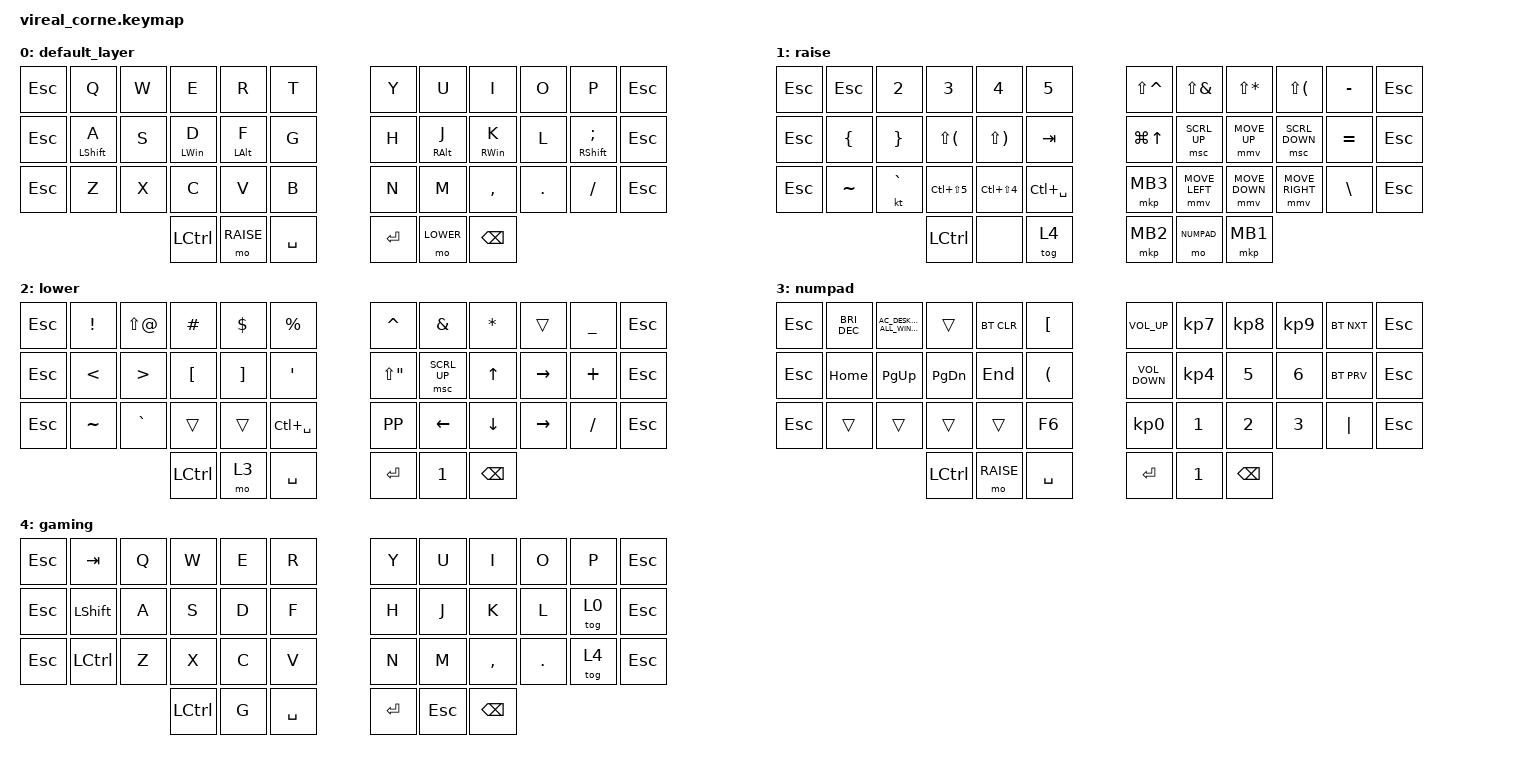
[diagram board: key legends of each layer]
#define ZMK_POINTING_DEFAULT_MOVE_VAL 600  // default: 600
#define ZMK_POINTING_DEFAULT_SCRL_VAL 10    // default: 10

#include <behaviors.dtsi>
#include <dt-bindings/zmk/bt.h>
#include <dt-bindings/zmk/keys.h>
#include <dt-bindings/zmk/pointing.h>

#define DEFAULT 0
#define RAISE   1
#define LOWER   2
#define NUMPAD  3
#define GAMING  4

/ {
    keymap {
        compatible = "zmk,keymap";

        default_layer {
            bindings = <
&kp ESC  &kp Q             &kp W  &kp E           &kp R           &kp T                 &kp Y  &kp U            &kp I            &kp O     &kp P &kp ESC  

&kp ESC  &mt LEFT_SHIFT A  &kp S  &mt LEFT_WIN D  &mt LEFT_ALT F  &kp G                 &kp H  &mt RIGHT_ALT J  &mt RIGHT_WIN K  &kp L     &mt RIGHT_SHIFT SEMICOLON &kp ESC 

&kp ESC  &kp Z             &kp X  &kp C           &kp V           &kp B                 &kp N  &kp M            &kp COMMA        &kp DOT   &kp FSLH &kp ESC 

                                         &kp LCTRL       &mo RAISE  &kp SPACE         &kp ENTER        &mo LOWER        &kp BSPC
            >;
        };

        raise {
            bindings = <
&kp ESC  &kp ESC         &kp NUMBER_2     &kp NUMBER_3    &kp NUMBER_4          &kp N5                 &kp LS(CARET)  &kp LS(AMPS)    &kp LS(STAR)    &kp LS(LPAR)     &kp MINUS &kp ESC 

&kp ESC  &kp LEFT_BRACE  &kp RIGHT_BRACE  &kp LS(LPAR)    &kp LS(RPAR)          &kp TAB                &kp LG(UP)     &msc SCRL_UP    &mmv MOVE_UP    &msc SCRL_DOWN   &kp EQUAL &kp ESC 

&kp ESC  &kp TILDE       &kt GRAVE        &kp LC(LS(N5))  &kp LC(LS(NUMBER_4))  &kp LC(SPACE)          &mkp MB3       &mmv MOVE_LEFT  &mmv MOVE_DOWN  &mmv MOVE_RIGHT  &kp BSLH &kp ESC 

                                                 &kp LCTRL             &none          &tog 4                 &mkp MB2        &mo NUMPAD      &mkp MB1
            >;
        };

        lower {
            bindings = <
&kp ESC  &kp EXCLAMATION  &kp LS(AT_SIGN)   &kp HASH          &kp DOLLAR         &kp PERCENT               &kp CARET    &kp AMPS      &kp ASTERISK  &trans     &kp UNDER &kp ESC 

&kp ESC  &kp LESS_THAN    &kp GREATER_THAN  &kp LEFT_BRACKET  &kp RIGHT_BRACKET  &kp SQT                   &kp LS(DQT)  &msc SCRL_UP  &kp UP        &kp RIGHT  &kp PLUS &kp ESC 

&kp ESC  &kp TILDE        &kp GRAVE         &trans            &trans             &kp LC(SPACE)             &kp K_PP     &kp LEFT      &kp DOWN      &kp RIGHT  &kp FSLH &kp ESC 

                                                     &kp LCTRL          &mo 3          &kp SPACE               &kp ENTER     &kp 1         &kp BSPC
            >;
        };

        numpad {
            bindings = <
&kp ESC  &kp C_BRI_DEC  &kp C_AC_DESKTOP_SHOW_ALL_WINDOWS  &trans     &bt BT_CLR  &kp LBKT              &kp K_VOLUME_UP    &kp KP_NUMBER_7  &kp KP_NUMBER_8  &kp KP_NUMBER_9  &bt BT_NXT &kp ESC 

&kp ESC  &kp HOME       &kp PG_UP                          &kp PG_DN  &kp END     &kp LPAR              &kp K_VOLUME_DOWN  &kp KP_NUMBER_4  &kp N5           &kp N6           &bt BT_PRV &kp ESC 

&kp ESC &trans         &trans                             &trans     &trans      &kp F6                &kp KP_NUMBER_0    &kp N1           &kp N2           &kp N3           &kp PIPE &kp ESC 

                                                             &kp LCTRL   &mo RAISE  &kp SPACE                     &kp ENTER        &kp 1            &kp BSPC
            >;
        };

        gaming {
            bindings = <
&kp ESC  &kp TAB    &kp Q  &kp W  &kp E      &kp R             &kp Y  &kp U    &kp I      &kp O     &kp P &kp ESC 

&kp ESC  &kp LSHFT  &kp A  &kp S  &kp D      &kp F             &kp H  &kp J    &kp K      &kp L     &tog 0 &kp ESC 

&kp ESC  &kp LCTRL  &kp Z  &kp X  &kp C      &kp V             &kp N  &kp M    &kp COMMA  &kp DOT   &tog 4 &kp ESC 

                         &kp LCTRL  &kp G  &kp SPACE         &kp RET  &kp ESC    &kp BSPC
            >;
        };
    };
};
